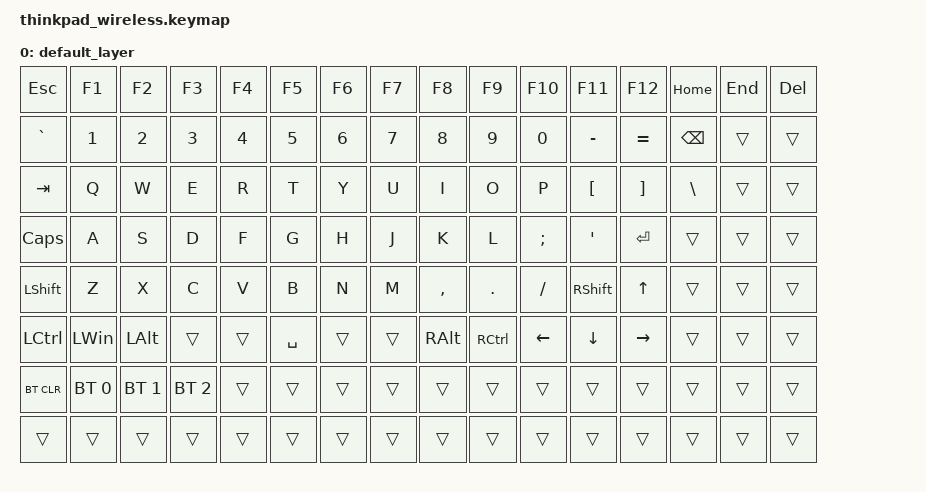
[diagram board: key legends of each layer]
/*
 * Copyright (c) 2024 The ZMK Contributors
 * SPDX-License-Identifier: MIT
 */

#include <behaviors.dtsi>
#include <dt-bindings/zmk/keys.h>
#include <dt-bindings/zmk/bt.h>

/ {
    keymap {
        compatible = "zmk,keymap";

        default_layer {
            bindings = <
                &kp ESC    &kp F1     &kp F2     &kp F3     &kp F4     &kp F5     &kp F6     &kp F7     &kp F8     &kp F9     &kp F10    &kp F11    &kp F12    &kp HOME   &kp END    &kp DEL
                &kp GRAVE  &kp N1     &kp N2     &kp N3     &kp N4     &kp N5     &kp N6     &kp N7     &kp N8     &kp N9     &kp N0     &kp MINUS  &kp EQUAL  &kp BSPC   &trans     &trans
                &kp TAB    &kp Q      &kp W      &kp E      &kp R      &kp T      &kp Y      &kp U      &kp I      &kp O      &kp P      &kp LBKT   &kp RBKT   &kp BSLH   &trans     &trans
                &kp CAPS   &kp A      &kp S      &kp D      &kp F      &kp G      &kp H      &kp J      &kp K      &kp L      &kp SEMI   &kp SQT    &kp RET    &trans     &trans     &trans
                &kp LSHFT  &kp Z      &kp X      &kp C      &kp V      &kp B      &kp N      &kp M      &kp COMMA  &kp DOT    &kp FSLH   &kp RSHFT  &kp UP     &trans     &trans     &trans
                &kp LCTRL  &kp LWIN   &kp LALT   &trans     &trans     &kp SPACE  &trans     &trans     &kp RALT   &kp RCTRL  &kp LEFT   &kp DOWN   &kp RIGHT  &trans     &trans     &trans
                &bt BT_CLR &bt BT_SEL 0 &bt BT_SEL 1 &bt BT_SEL 2 &trans &trans &trans &trans &trans &trans &trans &trans &trans &trans &trans &trans
                &trans     &trans     &trans     &trans     &trans     &trans     &trans     &trans     &trans     &trans     &trans     &trans     &trans     &trans     &trans     &trans
            >;
        };
    };
};
